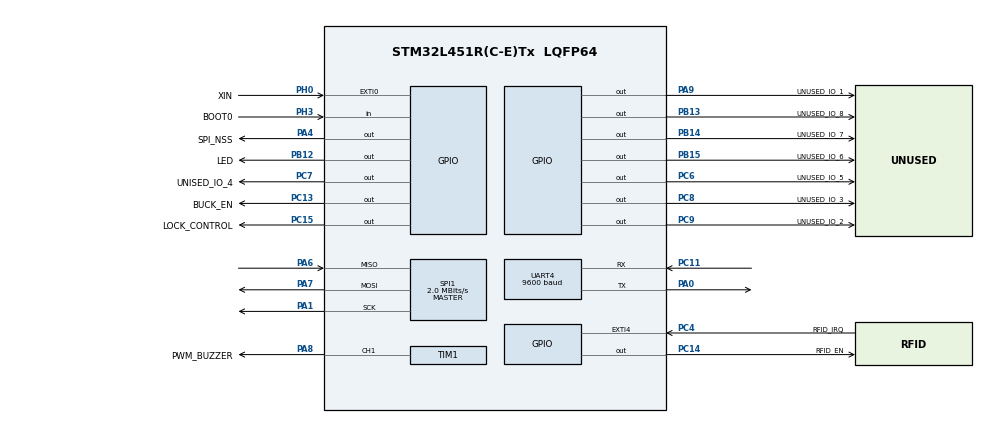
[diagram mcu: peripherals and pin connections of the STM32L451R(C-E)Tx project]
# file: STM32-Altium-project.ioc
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Mcu.Family=STM32L4
Mcu.Name=STM32L451R(C-E)Tx
Mcu.Package=LQFP64
NVIC.EXTI4_IRQn=true\:0\:0\:false\:false\:true\:true\:true
NVIC.PriorityGroup=NVIC_PRIORITYGROUP_4
NVIC.TIM1_UP_TIM16_IRQn=true\:0\:0\:false\:false\:true\:true\:true
PA0.Mode=Asynchronous
PA0.Signal=UART4_TX
PA1.Mode=Full_Duplex_Master
PA1.Signal=SPI1_SCK
PA13\ (JTMS/SWDIO).Mode=Trace_Asynchronous_SW
PA13\ (JTMS/SWDIO).Signal=SYS_JTMS-SWDIO
PA14\ (JTCK/SWCLK).Mode=Trace_Asynchronous_SW
PA14\ (JTCK/SWCLK).Signal=SYS_JTCK-SWCLK
PA4.GPIO_Label=SPI_NSS
PA4.Signal=GPIO_Output
PA6.Mode=Full_Duplex_Master
PA6.Signal=SPI1_MISO
PA7.Mode=Full_Duplex_Master
PA7.Signal=SPI1_MOSI
PA8.GPIO_Label=PWM_BUZZER
PA8.Signal=S_TIM1_CH1
PA9.GPIO_Label=UNUSED_IO_1
PA9.Signal=GPIO_Output
PB12.GPIO_Label=LED
PB12.Signal=GPIO_Output
PB13.GPIO_Label=UNUSED_IO_8
PB13.Signal=GPIO_Output
PB14.GPIO_Label=UNUSED_IO_7
PB14.Signal=GPIO_Output
PB15.GPIO_Label=UNUSED_IO_6
PB15.Signal=GPIO_Output
PB3\ (JTDO/TRACESWO).Mode=Trace_Asynchronous_SW
PB3\ (JTDO/TRACESWO).Signal=SYS_JTDO-SWO
PB4\ (NJTRST).Signal=SYS_JTRST
PC11.Mode=Asynchronous
PC11.Signal=UART4_RX
PC13.GPIO_Label=BUCK_EN
PC13.Signal=GPIO_Output
PC14-OSC32_IN\ (PC14).GPIO_Label=RFID_EN
PC14-OSC32_IN\ (PC14).Signal=GPIO_Output
PC15-OSC32_OUT\ (PC15).GPIO_Label=LOCK_CONTROL
PC15-OSC32_OUT\ (PC15).Signal=GPIO_Output
PC4.GPIO_Label=RFID_IRQ
PC4.Signal=GPXTI4
PC6.GPIO_Label=UNUSED_IO_5
PC6.Signal=GPIO_Output
PC7.GPIO_Label=UNISED_IO_4
PC7.Signal=GPIO_Output
PC8.GPIO_Label=UNUSED_IO_3
PC8.Signal=GPIO_Output
PC9.GPIO_Label=UNUSED_IO_2
PC9.Signal=GPIO_Output
PH0-OSC_IN\ (PH0).GPIO_Label=XIN
PH0-OSC_IN\ (PH0).Signal=GPXTI0
PH3-BOOT0\ (BOOT0).GPIO_Label=BOOT0
PH3-BOOT0\ (BOOT0).Signal=GPIO_Input
ProjectManager.HeapSize=0x200
ProjectManager.StackSize=0x400
ProjectManager.TargetToolchain=STM32CubeIDE
RCC.HSE_VALUE=8000000
RCC.HSI48_VALUE=48000000
RCC.HSI_VALUE=16000000
RCC.LSE_VALUE=32768
RCC.MSI_VALUE=4000000
RCC.VCOOutputFreq_Value=32000000
SH.S_TIM1_CH1.0=TIM1_CH1,PWM Generation1 CH1
SPI1.CalculateBaudRate=2.0 MBits/s
SPI1.DataSize=SPI_DATASIZE_8BIT
SPI1.Direction=SPI_DIRECTION_2LINES
SPI1.Mode=SPI_MODE_MASTER
SPI1.VirtualType=VM_MASTER
TIM1.Channel-PWM\ Generation1\ CH1=TIM_CHANNEL_1
TIM1.Period=9999
TIM1.Prescaler=399
UART4.BaudRate=9600
board=custom

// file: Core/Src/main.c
/* USER CODE BEGIN Header */
/**
  ******************************************************************************
  * @file           : main.c
  * @brief          : Main program body
  ******************************************************************************
  * @attention
  *
  * <h2><center>&copy; Copyright (c) 2021 STMicroelectronics.
  * All rights reserved.</center></h2>
  *
  * This software component is licensed by ST under BSD 3-Clause license,
  * the "License"; You may not use this file except in compliance with the
  * License. You may obtain a copy of the License at:
  *                        opensource.org/licenses/BSD-3-Clause
  *
  ******************************************************************************
  */
/* USER CODE END Header */
#include "main.h"

/* USER CODE BEGIN Includes */
#include "14443.h"
#include "parallel.h"

/* USER CODE END Includes */

SPI_HandleTypeDef hspi1;

TIM_HandleTypeDef htim1;

UART_HandleTypeDef huart4;

/* USER CODE BEGIN PV */
int interruptFlag = 0;
unsigned char command[10];
int counter = 0;

/* USER CODE END PV */

void SystemClock_Config(void);
static void MX_GPIO_Init(void);
static void MX_SPI1_Init(void);
static void MX_TIM1_Init(void);
static void MX_UART4_Init(void);

/* USER CODE BEGIN 0 */

/*
 =======================================================================================================================
    Function writes only one register or a multiple number ;
    of registers with specified addresses ;
 =======================================================================================================================
 */

void led(){
	HAL_GPIO_WritePin(LED_GPIO_Port, LED_Pin, SET);
	HAL_Delay(5000);
	HAL_GPIO_WritePin(LED_GPIO_Port, LED_Pin, RESET);
}

int checkIfCardIsPresent(){
	if(counter == 135600000){
		counter = 0;
		return 1;
	}
	return 0;
}

void openAndCloseLockLed(){
	HAL_GPIO_WritePin(LOCK_CONTROL_GPIO_Port, LOCK_CONTROL_Pin, SET);
	HAL_GPIO_WritePin(LED_GPIO_Port, LED_Pin, SET);
	HAL_Delay(5000);
	HAL_GPIO_WritePin(LOCK_CONTROL_GPIO_Port, LOCK_CONTROL_Pin, RESET);
	HAL_GPIO_WritePin(LED_GPIO_Port, LED_Pin, RESET);
}

void buzzer(){
	HAL_TIM_PWM_Start(&htim1, TIM_CHANNEL_1);

	uint16_t new_pwm_val = 4999;

	// update PWM
	__HAL_TIM_SET_COMPARE(&htim1, TIM_CHANNEL_1, new_pwm_val);
	HAL_Delay(3000);
	HAL_TIM_PWM_Stop(&htim1, TIM_CHANNEL_1);
}

/*void HAL_TIM_PeriodElapsedCallback(TIM_HandleTypeDef *htim){
	if(htim->Instance == TIM1){
		interruptFlag = 1;
	}
}*/

void HAL_GPIO_EXTI_Callback(uint16_t GPIO_Pin){
	if(GPIO_Pin == XIN_Pin){
		counter++;
	}
}

/* USER CODE END 0 */

int main(void)
{

  /* MCU Configuration--------------------------------------------------------*/

  /* Reset of all peripherals, Initializes the Flash interface and the Systick. */
  HAL_Init();

  /* Configure the system clock */
  SystemClock_Config();

  /* Initialize all configured peripherals */
  MX_GPIO_Init();
  MX_SPI1_Init();
  MX_TIM1_Init();
  MX_UART4_Init();
  /* USER CODE BEGIN 2 */

  // Buck converter is turned on
  HAL_GPIO_WritePin(BUCK_EN_GPIO_Port, BUCK_EN_Pin, RESET);

  //SPI SS-pin should default high
  HAL_GPIO_WritePin(SPI_NSS_GPIO_Port, SPI_NSS_Pin, SET);

  // start timer 1 for interrupt
  HAL_TIM_Base_Start_IT(&htim1);

  // RFID chip enable input
  HAL_GPIO_WritePin(RFID_EN_GPIO_Port, RFID_EN_Pin, SET);

  /* USER CODE END 2 */

  /* Infinite loop */
  /* USER CODE BEGIN WHILE */
  while (1)
  {
	  if(checkIfCardIsPresent()){
		  openAndCloseLockLed();
	 }

    /* USER CODE END WHILE */

  }
}

void SystemClock_Config(void)
{
  RCC_OscInitTypeDef RCC_OscInitStruct = {0};
  RCC_ClkInitTypeDef RCC_ClkInitStruct = {0};
  RCC_PeriphCLKInitTypeDef PeriphClkInit = {0};

  /** Initializes the RCC Oscillators according to the specified parameters
  * in the RCC_OscInitTypeDef structure.
  */
  RCC_OscInitStruct.OscillatorType = RCC_OSCILLATORTYPE_MSI;
  RCC_OscInitStruct.MSIState = RCC_MSI_ON;
  RCC_OscInitStruct.MSICalibrationValue = 0;
  RCC_OscInitStruct.MSIClockRange = RCC_MSIRANGE_6;
  RCC_OscInitStruct.PLL.PLLState = RCC_PLL_NONE;
  if (HAL_RCC_OscConfig(&RCC_OscInitStruct) != HAL_OK)
  {
    Error_Handler();
  }
  /** Initializes the CPU, AHB and APB buses clocks
  */
  RCC_ClkInitStruct.ClockType = RCC_CLOCKTYPE_HCLK|RCC_CLOCKTYPE_SYSCLK
                              |RCC_CLOCKTYPE_PCLK1|RCC_CLOCKTYPE_PCLK2;
  RCC_ClkInitStruct.SYSCLKSource = RCC_SYSCLKSOURCE_MSI;
  RCC_ClkInitStruct.AHBCLKDivider = RCC_SYSCLK_DIV1;
  RCC_ClkInitStruct.APB1CLKDivider = RCC_HCLK_DIV1;
  RCC_ClkInitStruct.APB2CLKDivider = RCC_HCLK_DIV1;

  if (HAL_RCC_ClockConfig(&RCC_ClkInitStruct, FLASH_LATENCY_0) != HAL_OK)
  {
    Error_Handler();
  }
  PeriphClkInit.PeriphClockSelection = RCC_PERIPHCLK_UART4;
  PeriphClkInit.Uart4ClockSelection = RCC_UART4CLKSOURCE_PCLK1;
  if (HAL_RCCEx_PeriphCLKConfig(&PeriphClkInit) != HAL_OK)
  {
    Error_Handler();
  }
  /** Configure the main internal regulator output voltage
  */
  if (HAL_PWREx_ControlVoltageScaling(PWR_REGULATOR_VOLTAGE_SCALE1) != HAL_OK)
  {
    Error_Handler();
  }
}

static void MX_SPI1_Init(void)
{

  /* SPI1 parameter configuration*/
  hspi1.Instance = SPI1;
  hspi1.Init.Mode = SPI_MODE_MASTER;
  hspi1.Init.Direction = SPI_DIRECTION_2LINES;
  hspi1.Init.DataSize = SPI_DATASIZE_8BIT;
  hspi1.Init.CLKPolarity = SPI_POLARITY_LOW;
  hspi1.Init.CLKPhase = SPI_PHASE_1EDGE;
  hspi1.Init.NSS = SPI_NSS_SOFT;
  hspi1.Init.BaudRatePrescaler = SPI_BAUDRATEPRESCALER_2;
  hspi1.Init.FirstBit = SPI_FIRSTBIT_MSB;
  hspi1.Init.TIMode = SPI_TIMODE_DISABLE;
  hspi1.Init.CRCCalculation = SPI_CRCCALCULATION_DISABLE;
  hspi1.Init.CRCPolynomial = 7;
  hspi1.Init.CRCLength = SPI_CRC_LENGTH_DATASIZE;
  hspi1.Init.NSSPMode = SPI_NSS_PULSE_ENABLE;
  if (HAL_SPI_Init(&hspi1) != HAL_OK)
  {
    Error_Handler();
  }

}

static void MX_TIM1_Init(void)
{

  TIM_MasterConfigTypeDef sMasterConfig = {0};
  TIM_OC_InitTypeDef sConfigOC = {0};
  TIM_BreakDeadTimeConfigTypeDef sBreakDeadTimeConfig = {0};

  htim1.Instance = TIM1;
  htim1.Init.Prescaler = 399;
  htim1.Init.CounterMode = TIM_COUNTERMODE_UP;
  htim1.Init.Period = 9999;
  htim1.Init.ClockDivision = TIM_CLOCKDIVISION_DIV1;
  htim1.Init.RepetitionCounter = 0;
  htim1.Init.AutoReloadPreload = TIM_AUTORELOAD_PRELOAD_DISABLE;
  if (HAL_TIM_PWM_Init(&htim1) != HAL_OK)
  {
    Error_Handler();
  }
  sMasterConfig.MasterOutputTrigger = TIM_TRGO_RESET;
  sMasterConfig.MasterOutputTrigger2 = TIM_TRGO2_RESET;
  sMasterConfig.MasterSlaveMode = TIM_MASTERSLAVEMODE_DISABLE;
  if (HAL_TIMEx_MasterConfigSynchronization(&htim1, &sMasterConfig) != HAL_OK)
  {
    Error_Handler();
  }
  sConfigOC.OCMode = TIM_OCMODE_PWM1;
  sConfigOC.Pulse = 0;
  sConfigOC.OCPolarity = TIM_OCPOLARITY_HIGH;
  sConfigOC.OCNPolarity = TIM_OCNPOLARITY_HIGH;
  sConfigOC.OCFastMode = TIM_OCFAST_DISABLE;
  sConfigOC.OCIdleState = TIM_OCIDLESTATE_RESET;
  sConfigOC.OCNIdleState = TIM_OCNIDLESTATE_RESET;
  if (HAL_TIM_PWM_ConfigChannel(&htim1, &sConfigOC, TIM_CHANNEL_1) != HAL_OK)
  {
    Error_Handler();
  }
  sBreakDeadTimeConfig.OffStateRunMode = TIM_OSSR_DISABLE;
  sBreakDeadTimeConfig.OffStateIDLEMode = TIM_OSSI_DISABLE;
  sBreakDeadTimeConfig.LockLevel = TIM_LOCKLEVEL_OFF;
  sBreakDeadTimeConfig.DeadTime = 0;
  sBreakDeadTimeConfig.BreakState = TIM_BREAK_DISABLE;
  sBreakDeadTimeConfig.BreakPolarity = TIM_BREAKPOLARITY_HIGH;
  sBreakDeadTimeConfig.BreakFilter = 0;
  sBreakDeadTimeConfig.Break2State = TIM_BREAK2_DISABLE;
  sBreakDeadTimeConfig.Break2Polarity = TIM_BREAK2POLARITY_HIGH;
  sBreakDeadTimeConfig.Break2Filter = 0;
  sBreakDeadTimeConfig.AutomaticOutput = TIM_AUTOMATICOUTPUT_DISABLE;
  if (HAL_TIMEx_ConfigBreakDeadTime(&htim1, &sBreakDeadTimeConfig) != HAL_OK)
  {
    Error_Handler();
  }
  HAL_TIM_MspPostInit(&htim1);

}

static void MX_UART4_Init(void)
{

  huart4.Instance = UART4;
  huart4.Init.BaudRate = 9600;
  huart4.Init.WordLength = UART_WORDLENGTH_8B;
  huart4.Init.StopBits = UART_STOPBITS_1;
  huart4.Init.Parity = UART_PARITY_NONE;
  huart4.Init.Mode = UART_MODE_TX_RX;
  huart4.Init.HwFlowCtl = UART_HWCONTROL_NONE;
  huart4.Init.OverSampling = UART_OVERSAMPLING_16;
  huart4.Init.OneBitSampling = UART_ONE_BIT_SAMPLE_DISABLE;
  huart4.AdvancedInit.AdvFeatureInit = UART_ADVFEATURE_NO_INIT;
  if (HAL_UART_Init(&huart4) != HAL_OK)
  {
    Error_Handler();
  }

}

static void MX_GPIO_Init(void)
{
  GPIO_InitTypeDef GPIO_InitStruct = {0};

  /* GPIO Ports Clock Enable */
  __HAL_RCC_GPIOC_CLK_ENABLE();
  __HAL_RCC_GPIOH_CLK_ENABLE();
  __HAL_RCC_GPIOA_CLK_ENABLE();
  __HAL_RCC_GPIOB_CLK_ENABLE();

  /*Configure GPIO pin Output Level */
  HAL_GPIO_WritePin(GPIOC, BUCK_EN_Pin|RFID_EN_Pin|LOCK_CONTROL_Pin|UNUSED_IO_5_Pin
                          |UNISED_IO_4_Pin|UNUSED_IO_3_Pin|UNUSED_IO_2_Pin, GPIO_PIN_RESET);

  /*Configure GPIO pin Output Level */
  HAL_GPIO_WritePin(GPIOA, SPI_NSS_Pin|UNUSED_IO_1_Pin, GPIO_PIN_RESET);

  /*Configure GPIO pin Output Level */
  HAL_GPIO_WritePin(GPIOB, LED_Pin|UNUSED_IO_8_Pin|UNUSED_IO_7_Pin|UNUSED_IO_6_Pin, GPIO_PIN_RESET);

  /*Configure GPIO pins : BUCK_EN_Pin RFID_EN_Pin LOCK_CONTROL_Pin UNUSED_IO_5_Pin
                           UNISED_IO_4_Pin UNUSED_IO_3_Pin UNUSED_IO_2_Pin */
  GPIO_InitStruct.Pin = BUCK_EN_Pin|RFID_EN_Pin|LOCK_CONTROL_Pin|UNUSED_IO_5_Pin
                          |UNISED_IO_4_Pin|UNUSED_IO_3_Pin|UNUSED_IO_2_Pin;
  GPIO_InitStruct.Mode = GPIO_MODE_OUTPUT_PP;
  GPIO_InitStruct.Pull = GPIO_NOPULL;
  GPIO_InitStruct.Speed = GPIO_SPEED_FREQ_LOW;
  HAL_GPIO_Init(GPIOC, &GPIO_InitStruct);

  /*Configure GPIO pin : XIN_Pin */
  GPIO_InitStruct.Pin = XIN_Pin;
  GPIO_InitStruct.Mode = GPIO_MODE_IT_RISING;
  GPIO_InitStruct.Pull = GPIO_NOPULL;
  HAL_GPIO_Init(XIN_GPIO_Port, &GPIO_InitStruct);

  /*Configure GPIO pins : SPI_NSS_Pin UNUSED_IO_1_Pin */
  GPIO_InitStruct.Pin = SPI_NSS_Pin|UNUSED_IO_1_Pin;
  GPIO_InitStruct.Mode = GPIO_MODE_OUTPUT_PP;
  GPIO_InitStruct.Pull = GPIO_NOPULL;
  GPIO_InitStruct.Speed = GPIO_SPEED_FREQ_LOW;
  HAL_GPIO_Init(GPIOA, &GPIO_InitStruct);

  /*Configure GPIO pin : RFID_IRQ_Pin */
  GPIO_InitStruct.Pin = RFID_IRQ_Pin;
  GPIO_InitStruct.Mode = GPIO_MODE_IT_RISING;
  GPIO_InitStruct.Pull = GPIO_NOPULL;
  HAL_GPIO_Init(RFID_IRQ_GPIO_Port, &GPIO_InitStruct);

  /*Configure GPIO pins : LED_Pin UNUSED_IO_8_Pin UNUSED_IO_7_Pin UNUSED_IO_6_Pin */
  GPIO_InitStruct.Pin = LED_Pin|UNUSED_IO_8_Pin|UNUSED_IO_7_Pin|UNUSED_IO_6_Pin;
  GPIO_InitStruct.Mode = GPIO_MODE_OUTPUT_PP;
  GPIO_InitStruct.Pull = GPIO_NOPULL;
  GPIO_InitStruct.Speed = GPIO_SPEED_FREQ_LOW;
  HAL_GPIO_Init(GPIOB, &GPIO_InitStruct);

  /*Configure GPIO pin : BOOT0_Pin */
  GPIO_InitStruct.Pin = BOOT0_Pin;
  GPIO_InitStruct.Mode = GPIO_MODE_INPUT;
  GPIO_InitStruct.Pull = GPIO_NOPULL;
  HAL_GPIO_Init(BOOT0_GPIO_Port, &GPIO_InitStruct);

  /* EXTI interrupt init*/
  HAL_NVIC_SetPriority(EXTI4_IRQn, 0, 0);
  HAL_NVIC_EnableIRQ(EXTI4_IRQn);

}

void Error_Handler(void)
{
  __disable_irq();
  while (1)
  {
  }
}

/************************ (C) COPYRIGHT STMicroelectronics *****END OF FILE****/
